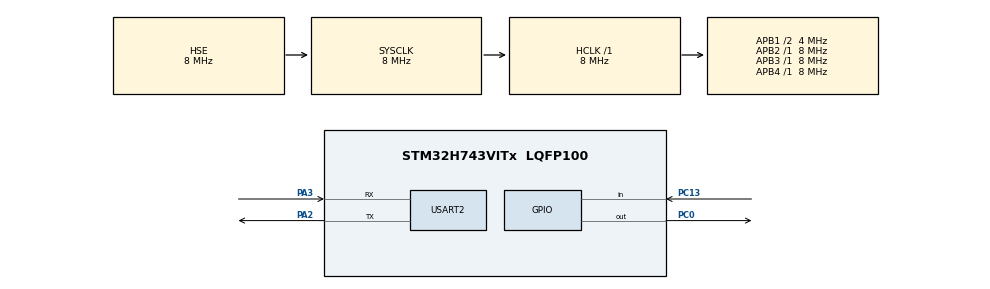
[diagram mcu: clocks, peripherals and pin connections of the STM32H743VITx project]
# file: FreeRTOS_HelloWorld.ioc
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Mcu.Family=STM32H7
Mcu.Name=STM32H743VITx
Mcu.Package=LQFP100
NVIC.PriorityGroup=NVIC_PRIORITYGROUP_4
NVIC.TIM6_DAC_IRQn=true\:15\:0\:false\:false\:true\:false\:true
NVIC.TimeBase=TIM6_DAC_IRQn
NVIC.TimeBaseIP=TIM6
PA13\ (JTMS/SWDIO).Mode=Trace_Asynchronous_SW
PA13\ (JTMS/SWDIO).Signal=DEBUG_JTMS-SWDIO
PA14\ (JTCK/SWCLK).Mode=Trace_Asynchronous_SW
PA14\ (JTCK/SWCLK).Signal=DEBUG_JTCK-SWCLK
PA2.Mode=Asynchronous
PA2.Signal=USART2_TX
PA3.Mode=Asynchronous
PA3.Signal=USART2_RX
PB3\ (JTDO/TRACESWO).Mode=Trace_Asynchronous_SW
PB3\ (JTDO/TRACESWO).Signal=DEBUG_JTDO-SWO
PC0.Signal=GPIO_Output
PC13.Signal=GPIO_Input
PH0-OSC_IN\ (PH0).Mode=HSE-External-Oscillator
PH0-OSC_IN\ (PH0).Signal=RCC_OSC_IN
PH1-OSC_OUT\ (PH1).Mode=HSE-External-Oscillator
PH1-OSC_OUT\ (PH1).Signal=RCC_OSC_OUT
ProjectManager.HeapSize=0x200
ProjectManager.StackSize=0x400
ProjectManager.TargetToolchain=STM32CubeIDE
RCC.ADCFreq_Value=129000000
RCC.APB1Freq_Value=4000000
RCC.APB2Freq_Value=8000000
RCC.APB3Freq_Value=8000000
RCC.APB4Freq_Value=8000000
RCC.CortexFreq_Value=8000000
RCC.D2PPRE1=RCC_APB1_DIV2
RCC.HCLKFreq_Value=8000000
RCC.HSE_VALUE=8000000
RCC.PLL2_VCI_Range-AdvancedSettings=RCC_PLL2VCIRANGE_1
RCC.SYSCLKFreq_VALUE=8000000
RCC.SYSCLKSource=RCC_SYSCLKSOURCE_HSE
RCC.USBFreq_Value=129000000
USART2.VirtualMode-Asynchronous=VM_ASYNC
VP_SYS_VS_tim6.Mode=TIM6
board=custom

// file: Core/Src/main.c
/* USER CODE BEGIN Header */
/**
  ******************************************************************************
  * @file           : main.c
  * @brief          : Main program body
  ******************************************************************************
  * @attention
  *
  * <h2><center>&copy; Copyright (c) 2021 STMicroelectronics.
  * All rights reserved.</center></h2>
  *
  * This software component is licensed by ST under BSD 3-Clause license,
  * the "License"; You may not use this file except in compliance with the
  * License. You may obtain a copy of the License at:
  *                        opensource.org/licenses/BSD-3-Clause
  *
  ******************************************************************************
  */
/* USER CODE END Header */
#include "main.h"

UART_HandleTypeDef huart2;

void SystemClock_Config(void);
static void MX_GPIO_Init(void);
static void MX_USART2_UART_Init(void);
/* USER CODE BEGIN PFP */
static void Task_Hello_Handler(void* parameters);
static void Task_World_Handler(void* parameters);

/* USER CODE END PFP */

/* USER CODE BEGIN 0 */
char *user_data = "Hello world\r\n";
/* USER CODE END 0 */

int main(void)
{
  /* USER CODE BEGIN 1 */
	TaskHandle_t Task_Hello_Handle;
	TaskHandle_t Task_World_Handle;

	BaseType_t TaskStatus;

  /* USER CODE END 1 */

  /* MCU Configuration--------------------------------------------------------*/

  /* Reset of all peripherals, Initializes the Flash interface and the Systick. */
  HAL_Init();

  /* Configure the system clock */
  SystemClock_Config();

  /* Initialize all configured peripherals */
  MX_GPIO_Init();
  MX_USART2_UART_Init();
  /* USER CODE BEGIN 2 */
	user_data = "Start of program\r\n";
	HAL_UART_Transmit(&huart2,(uint8_t*)user_data,strlen(user_data), HAL_MAX_DELAY);

	// Enable CCYCCNT Counter
	DWT->CTRL |= (1 << 0);

	//Starting SEGGER SYSVIEW
	  SEGGER_SYSVIEW_Conf();
	  SEGGER_SYSVIEW_Start();

  TaskStatus = xTaskCreate(Task_Hello_Handler, "Hello", 100, "Hello TASK", 1, &Task_Hello_Handle);
  configASSERT(TaskStatus == pdPASS);

  TaskStatus = xTaskCreate(Task_World_Handler, "World", 100, "World TASK", 1, &Task_World_Handle);
  configASSERT(TaskStatus == pdPASS);

  // Start FreeRTOS scheduler
  vTaskStartScheduler();
  /* USER CODE END 2 */

  /* Infinite loop */
  while (1)
  {

  }
}

void SystemClock_Config(void)
{
  RCC_OscInitTypeDef RCC_OscInitStruct = {0};
  RCC_ClkInitTypeDef RCC_ClkInitStruct = {0};

  /** Supply configuration update enable
  */
  HAL_PWREx_ConfigSupply(PWR_LDO_SUPPLY);
  /** Configure the main internal regulator output voltage
  */
  __HAL_PWR_VOLTAGESCALING_CONFIG(PWR_REGULATOR_VOLTAGE_SCALE3);

  while(!__HAL_PWR_GET_FLAG(PWR_FLAG_VOSRDY)) {}
  /** Initializes the RCC Oscillators according to the specified parameters
  * in the RCC_OscInitTypeDef structure.
  */
  RCC_OscInitStruct.OscillatorType = RCC_OSCILLATORTYPE_HSE;
  RCC_OscInitStruct.HSEState = RCC_HSE_ON;
  RCC_OscInitStruct.PLL.PLLState = RCC_PLL_NONE;
  if (HAL_RCC_OscConfig(&RCC_OscInitStruct) != HAL_OK)
  {
    Error_Handler();
  }
  /** Initializes the CPU, AHB and APB buses clocks
  */
  RCC_ClkInitStruct.ClockType = RCC_CLOCKTYPE_HCLK|RCC_CLOCKTYPE_SYSCLK
                              |RCC_CLOCKTYPE_PCLK1|RCC_CLOCKTYPE_PCLK2
                              |RCC_CLOCKTYPE_D3PCLK1|RCC_CLOCKTYPE_D1PCLK1;
  RCC_ClkInitStruct.SYSCLKSource = RCC_SYSCLKSOURCE_HSE;
  RCC_ClkInitStruct.SYSCLKDivider = RCC_SYSCLK_DIV1;
  RCC_ClkInitStruct.AHBCLKDivider = RCC_HCLK_DIV1;
  RCC_ClkInitStruct.APB3CLKDivider = RCC_APB3_DIV1;
  RCC_ClkInitStruct.APB1CLKDivider = RCC_APB1_DIV2;
  RCC_ClkInitStruct.APB2CLKDivider = RCC_APB2_DIV1;
  RCC_ClkInitStruct.APB4CLKDivider = RCC_APB4_DIV1;

  if (HAL_RCC_ClockConfig(&RCC_ClkInitStruct, FLASH_LATENCY_0) != HAL_OK)
  {
    Error_Handler();
  }
}

static void MX_USART2_UART_Init(void)
{

  huart2.Instance = USART2;
  huart2.Init.BaudRate = 115200;
  huart2.Init.WordLength = UART_WORDLENGTH_8B;
  huart2.Init.StopBits = UART_STOPBITS_1;
  huart2.Init.Parity = UART_PARITY_NONE;
  huart2.Init.Mode = UART_MODE_TX_RX;
  huart2.Init.HwFlowCtl = UART_HWCONTROL_NONE;
  huart2.Init.OverSampling = UART_OVERSAMPLING_16;
  huart2.Init.OneBitSampling = UART_ONE_BIT_SAMPLE_DISABLE;
  huart2.Init.ClockPrescaler = UART_PRESCALER_DIV1;
  huart2.AdvancedInit.AdvFeatureInit = UART_ADVFEATURE_NO_INIT;
  if (HAL_UART_Init(&huart2) != HAL_OK)
  {
    Error_Handler();
  }
  if (HAL_UARTEx_SetTxFifoThreshold(&huart2, UART_TXFIFO_THRESHOLD_1_8) != HAL_OK)
  {
    Error_Handler();
  }
  if (HAL_UARTEx_SetRxFifoThreshold(&huart2, UART_RXFIFO_THRESHOLD_1_8) != HAL_OK)
  {
    Error_Handler();
  }
  if (HAL_UARTEx_DisableFifoMode(&huart2) != HAL_OK)
  {
    Error_Handler();
  }

}

static void MX_GPIO_Init(void)
{
  GPIO_InitTypeDef GPIO_InitStruct = {0};

  /* GPIO Ports Clock Enable */
  __HAL_RCC_GPIOC_CLK_ENABLE();
  __HAL_RCC_GPIOH_CLK_ENABLE();
  __HAL_RCC_GPIOA_CLK_ENABLE();
  __HAL_RCC_GPIOB_CLK_ENABLE();

  /*Configure GPIO pin Output Level */
  HAL_GPIO_WritePin(GPIOC, GPIO_PIN_0, GPIO_PIN_RESET);

  /*Configure GPIO pin : PC13 */
  GPIO_InitStruct.Pin = GPIO_PIN_13;
  GPIO_InitStruct.Mode = GPIO_MODE_INPUT;
  GPIO_InitStruct.Pull = GPIO_NOPULL;
  HAL_GPIO_Init(GPIOC, &GPIO_InitStruct);

  /*Configure GPIO pin : PC0 */
  GPIO_InitStruct.Pin = GPIO_PIN_0;
  GPIO_InitStruct.Mode = GPIO_MODE_OUTPUT_PP;
  GPIO_InitStruct.Pull = GPIO_NOPULL;
  GPIO_InitStruct.Speed = GPIO_SPEED_FREQ_LOW;
  HAL_GPIO_Init(GPIOC, &GPIO_InitStruct);

}

/* USER CODE BEGIN 4 */
static void Task_Hello_Handler(void* parameters)
{
	while(1)
	{
		user_data = "Hello -\r\n";
		HAL_UART_Transmit(&huart2,(uint8_t*)user_data,strlen(user_data), HAL_MAX_DELAY);
		printf("%s\n", (char*)parameters);
		//taskYIELD();
	}
}

static void Task_World_Handler(void* parameters)
{
	while(1)
	{
		user_data = "World **\r\n";
		HAL_UART_Transmit(&huart2,(uint8_t*)user_data,strlen(user_data), HAL_MAX_DELAY);
		printf("%s\n", (char*)parameters);
		//taskYIELD();
	}
}

/* USER CODE END 4 */

void HAL_TIM_PeriodElapsedCallback(TIM_HandleTypeDef *htim)
{
  if (htim->Instance == TIM6) {
    HAL_IncTick();
  }
}

void Error_Handler(void)
{
  __disable_irq();
  while (1)
  {
  }
}
